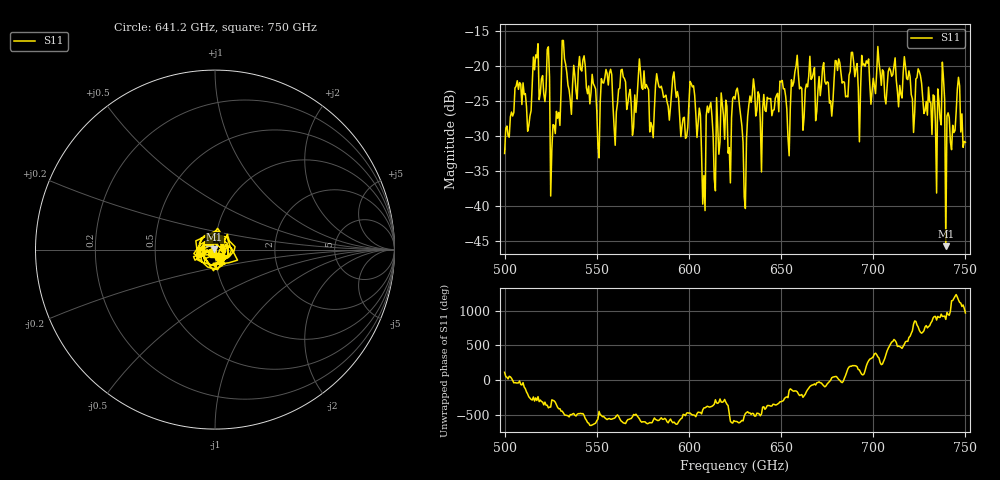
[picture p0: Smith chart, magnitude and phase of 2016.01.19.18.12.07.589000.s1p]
!Created with skrf (http://scikit-rf.org).
# GHz S RI R 50.0
!freq ReS11 ImS11
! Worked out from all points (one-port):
!   401 points, 500 GHz to 750 GHz, reference 50 ohm
!   lowest |S11| = -45.7 dB at 739.4 GHz (marker M1), VSWR 1.01, Z = 49.5 + j0.224 ohm
!   |S11| at or under -10 dB: start of sweep to end of sweep
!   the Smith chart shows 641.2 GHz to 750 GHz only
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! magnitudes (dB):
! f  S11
! 500 GHz  -32.5
! 506.9 GHz  -22.1
! 513.1 GHz  -28.5
! 516.9 GHz  -18.4
! 523.1 GHz  -17.6
! 526.2 GHz  -28.3
! 531.2 GHz  -16.3
! 541.9 GHz  -20.7
! 550.6 GHz  -31.4
! 562.5 GHz  -23.1
! 574.4 GHz  -23.1
! 580 GHz  -28.6
! 593.8 GHz  -23.6
! 598.1 GHz  -30.3
! 601.9 GHz  -22.9
! 608.1 GHz  -35.6
! 610.6 GHz  -26.6
! 615 GHz  -24.5
! 625 GHz  -24.7
! 630 GHz  -38.7
! 634.4 GHz  -24.0
! 653.8 GHz  -30.2
! 656.2 GHz  -22.8
! 687.5 GHz  -20.7
! 718.8 GHz  -21.9
! 739.4 GHz  -45.7
! 746.9 GHz  -22.8
! 750 GHz  -30.9
